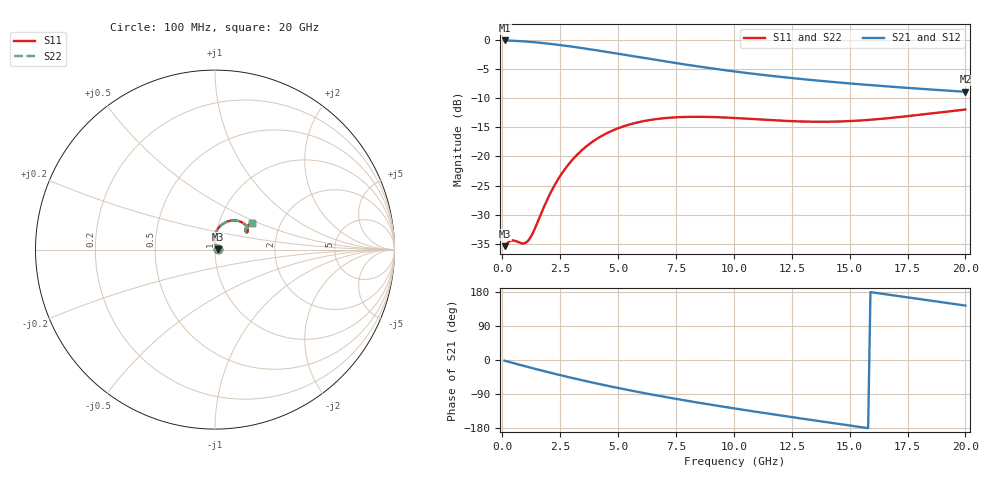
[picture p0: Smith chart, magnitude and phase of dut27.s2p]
! Touchstone file exported from HFSS 2024.1.0
!  File:  C:/UserFiles/LocalFiles/RDL_TSV_Batchsim/temp_RDL_TSV_27_1779401214.aedt
!  Generated:  06:25:00 AM May 22, 2026
!  Design:  RDL_TSV
!  Project:  temp_RDL_TSV_27_1779401214
!  Setup:  Setup1
!  Solution:  Sweep
! Variables:
!  dtsv = 5.17um
!  hbump = 3um
!  htsv = 91.64um
!  ldown = 570.17um
!  lrdl = 337.41um
!  p = 40
!  p1 = 46.14um
!  rhole = 10um
!  subl = 3060.15um
!  t = 450um
!  tdown = 2.41um
!  trdl = 3.24um
!  viad = 10um
!  wdown = 28.45um
!  wrdl = 28um
!  xbump = 18um
# GHz S MA R 50.000000
! Terminal data exported
! Port[1] = TM1_1_T1
! Port[2] = TM1_4_T1
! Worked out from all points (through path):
!   200 points, 100 MHz to 20 GHz, reference 50 ohm
!   highest |S21| = -0.15 dB at 100 MHz (marker M1); lowest = -8.9 dB at 20 GHz (marker M2)
!   group delay of S21, straight-line fit = 28.7 ps
!   lowest |S11| = -35.4 dB at 100 MHz (marker M3), VSWR 1.03, Z = 51.7 + j0.227 ohm
!   |S11| at or under -10 dB: start of sweep to end of sweep
!   |S22| runs from -35.4 to -12.0 dB; largest |S21 - S12| = 9.5e-15
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0.1  0.01704 7.4  0.9828 -1.8  0.9828 -1.8  0.01704 7.4
! Gamma 0 0 0 0
! Port Impedance 50 0 50 0
0.4  0.01904 18.3  0.9778 -6.9  0.9778 -6.9  0.01904 18.3
0.9  0.01798 40.6  0.9658 -15.1  0.9658 -15.1  0.01796 40.7
1.1  0.01881 55.6  0.9596 -18.3  0.9596 -18.3  0.01881 55.7
1.3  0.02169 69.9  0.9526 -21.5  0.9526 -21.5  0.02169 70.0
2  0.04506 91.8  0.9226 -32.4  0.9226 -32.4  0.04512 91.8
2.4  0.06321 92.3  0.9026 -38.5  0.9026 -38.5  0.06328 92.3
2.9  0.08736 88.8  0.8759 -45.8  0.8759 -45.8  0.08746 88.8
3.5  0.1159 82.4  0.8423 -54.2  0.8423 -54.2  0.116 82.4
4.2  0.146 74.1  0.8022 -63.6  0.8022 -63.6  0.1461 74.1
4.9  0.1709 66.0  0.7623 -72.6  0.7623 -72.6  0.1711 66.1
5.8  0.1945 56.6  0.7129 -83.6  0.7129 -83.6  0.1947 56.6
6.8  0.2104 47.7  0.6619 -95.0  0.6619 -95.0  0.2106 47.7
7.6  0.2166 41.8  0.6249 -103.6  0.6249 -103.6  0.2167 41.8
8.4  0.2183 37.0  0.5913 -111.9  0.5913 -111.9  0.2185 37.0
10.1  0.2129 30.3  0.5314 -128.6  0.5314 -128.6  0.213 30.4
11.7  0.2039 28.2  0.487 -143.4  0.487 -143.4  0.2039 28.2
13.4  0.198 29.4  0.4497 -158.7  0.4497 -158.7  0.198 29.5
15  0.2005 32.3  0.4214 -172.9  0.4214 -172.9  0.2005 32.4
16.7  0.2127 35.2  0.3963 172.2  0.3963 172.2  0.2128 35.3
18.4  0.2317 36.3  0.375 157.4  0.375 157.4  0.2319 36.5
20  0.2518 35.7  0.3574 143.6  0.3574 143.6  0.2522 35.8
